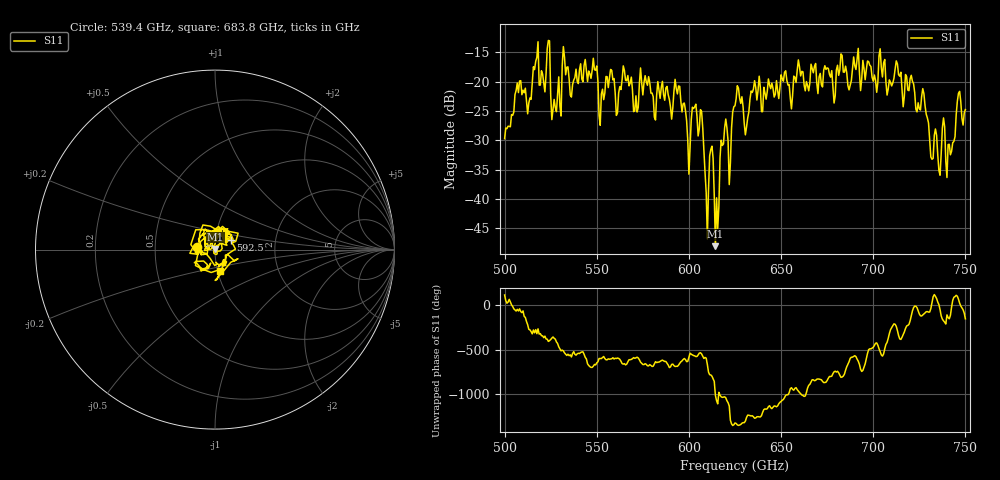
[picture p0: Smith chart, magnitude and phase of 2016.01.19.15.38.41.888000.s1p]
!Created with skrf (http://scikit-rf.org).
# GHz S RI R 50.0
!freq ReS11 ImS11
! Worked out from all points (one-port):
!   401 points, 500 GHz to 750 GHz, reference 50 ohm
!   lowest |S11| = -48.0 dB at 614.4 GHz (marker M1), VSWR 1.01, Z = 50.2 + j0.368 ohm
!   |S11| at or under -10 dB: start of sweep to end of sweep
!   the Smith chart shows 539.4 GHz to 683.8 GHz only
!   S11 on the Smith chart (normalised r, x): 539.4 GHz: 0.82, +0.02; 592.5 GHz: 1.19, +0.13; 683.8 GHz: 1.03, -0.24
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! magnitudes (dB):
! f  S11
! 500 GHz  -29.7
! 507.5 GHz  -21.9
! 513.1 GHz  -23.6
! 516.9 GHz  -16.6
! 523.8 GHz  -13.0
! 526.9 GHz  -23.0
! 531.2 GHz  -17.3
! 539.4 GHz  -20.0
! 562.5 GHz  -20.9
! 592.5 GHz  -19.6
! 593.8 GHz  -22.1
! 600 GHz  -35.8
! 602.5 GHz  -24.6
! 606.9 GHz  -25.1
! 609.4 GHz  -38.9
! 612.5 GHz  -31.0
! 614.4 GHz  -48.0
! 618.8 GHz  -30.6
! 622.5 GHz  -33.9
! 625 GHz  -24.1
! 656.2 GHz  -22.3
! 683.8 GHz  -18.4
! 687.5 GHz  -20.7
! 718.8 GHz  -21.4
! 735.6 GHz  -35.1
! 743.1 GHz  -30.4
! 746.2 GHz  -22.0
! 750 GHz  -24.8
